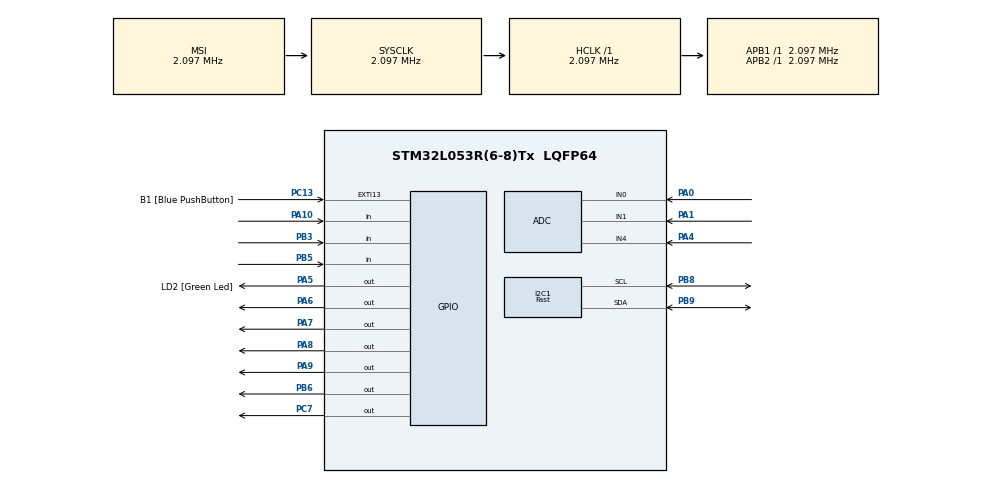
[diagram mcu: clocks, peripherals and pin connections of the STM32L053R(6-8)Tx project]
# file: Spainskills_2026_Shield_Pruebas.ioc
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I2C1.I2C_Speed_Mode=I2C_Fast
I2C1.Timing=0x00000000
Mcu.Family=STM32L0
Mcu.Name=STM32L053R(6-8)Tx
Mcu.Package=LQFP64
PA0.Mode=IN0
PA0.Signal=ADC_IN0
PA1.Mode=IN1
PA1.Signal=ADC_IN1
PA10.GPIO_PuPd=GPIO_PULLUP
PA10.Signal=GPIO_Input
PA13.GPIO_Label=TMS
PA13.Signal=SYS_SWDIO
PA14.GPIO_Label=TCK
PA14.Signal=SYS_SWCLK
PA2.GPIO_Label=USART_TX
PA2.Signal=USART2_TX
PA3.GPIO_Label=USART_RX
PA3.Signal=USART2_RX
PA4.Mode=IN4
PA4.Signal=ADC_IN4
PA5.GPIO_Label=LD2 [Green Led]
PA5.Signal=GPIO_Output
PA6.Signal=GPIO_Output
PA7.Signal=GPIO_Output
PA8.Signal=GPIO_Output
PA9.Signal=GPIO_Output
PB3.GPIO_PuPd=GPIO_PULLUP
PB3.Signal=GPIO_Input
PB5.GPIO_PuPd=GPIO_PULLUP
PB5.Signal=GPIO_Input
PB6.Signal=GPIO_Output
PB8.Mode=I2C
PB8.Signal=I2C1_SCL
PB9.Mode=I2C
PB9.Signal=I2C1_SDA
PC13.GPIO_Label=B1 [Blue PushButton]
PC13.GPIO_ModeDefaultEXTI=GPIO_MODE_IT_FALLING
PC13.Signal=GPXTI13
PC14-OSC32_IN.Signal=RCC_OSC32_IN
PC15-OSC32_OUT.Signal=RCC_OSC32_OUT
PC7.Signal=GPIO_Output
PH0-OSC_IN.Signal=RCC_OSC_IN
PH1-OSC_OUT.Signal=RCC_OSC_OUT
ProjectManager.HeapSize=0x200
ProjectManager.StackSize=0x400
ProjectManager.TargetToolchain=STM32CubeIDE
RCC.AHBFreq_Value=2097000
RCC.APB1Freq_Value=2097000
RCC.APB1TimFreq_Value=2097000
RCC.APB2Freq_Value=2097000
RCC.APB2TimFreq_Value=2097000
RCC.HSE_VALUE=8000000
RCC.HSI16_VALUE=16000000
RCC.HSI48_VALUE=48000000
RCC.HSI_VALUE=16000000
RCC.LSEState=RCC_LSE_ON
RCC.LSE_VALUE=32768
RCC.MSI_VALUE=2097000
RCC.SYSCLKFreq_VALUE=2097000
RCC.VCOOutputFreq_Value=48000000
board=NUCLEO-L053R8

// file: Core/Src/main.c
/* USER CODE BEGIN Header */
/**
  ******************************************************************************
  * @file           : main.c
  * @brief          : Main program body
  ******************************************************************************
  * @attention
  *
  * Copyright (c) 2026 STMicroelectronics.
  * All rights reserved.
  *
  * This software is licensed under terms that can be found in the LICENSE file
  * in the root directory of this software component.
  * If no LICENSE file comes with this software, it is provided AS-IS.
  *
  ******************************************************************************
  */
/* USER CODE END Header */
#include "main.h"

/* USER CODE BEGIN Includes */
#include "Drivers/LCD_i2c.h"
#include "Drivers/ssd1306.h"
/* USER CODE END Includes */

ADC_HandleTypeDef hadc;
I2C_HandleTypeDef hi2c1;

void SystemClock_Config(void);
static void MX_GPIO_Init(void);
static void MX_I2C1_Init(void);
static void MX_ADC_Init(void);

/* USER CODE BEGIN 0 */
void Select_ADC_Channel(uint32_t channel)
{
    ADC_ChannelConfTypeDef sConfig = {0};

    // 1. IMPORTANTE: Limpiar la selección de canales previa
    // Esto evita que se acumulen canales en el registro CHSELR
    hadc.Instance->CHSELR = 0;

    // 2. Configurar el nuevo canal
    sConfig.Channel = channel;
    sConfig.Rank = ADC_RANK_CHANNEL_NUMBER;

    if (HAL_ADC_ConfigChannel(&hadc, &sConfig) != HAL_OK)
    {
        Error_Handler();
    }
}
/* USER CODE END 0 */

int main(void)
{

  /* MCU Configuration--------------------------------------------------------*/

  /* Reset of all peripherals, Initializes the Flash interface and the Systick. */
  HAL_Init();

  /* Configure the system clock */
  SystemClock_Config();

  /* Initialize all configured peripherals */
  MX_GPIO_Init();
  MX_I2C1_Init();
  MX_ADC_Init();
  /* USER CODE BEGIN 2 */

  // --- INICIALIZAR BUZZER ---//
  HAL_GPIO_WritePin(GPIOA, GPIO_PIN_8, 1);

  //---- Display LCD - I2C ---//
  LCD_Init();
  LCD_Clear();
  LCD_Set_Cursor(0,0);
  LCD_Write_String("*Menu 1: Display");

  LCD_Set_Cursor(1,0);
  LCD_Write_String(" Menu 2: Blink LEDs");

  LCD_Set_Cursor(2,0);
  LCD_Write_String(" Menu 3: ADC");

  LCD_Set_Cursor(3,0);
  LCD_Write_String(" Menu 4: Buzzer");

  //---- OLED SSD1306 - I2C ---//
  SSD1306_Init (); // initialise the display

  // El ADC debe estar encendido pero detenido para calibrar
  if (HAL_ADCEx_Calibration_Start(&hadc, ADC_SINGLE_ENDED) != HAL_OK)
  {
      Error_Handler(); // Error de calibración
  }

  /* USER CODE END 2 */

  /* Infinite loop */
  /* USER CODE BEGIN WHILE */

  //--- BOTONES DE SERVICIO ---//

  uint8_t bot_B5_val_previo = SET; //Se pone a SET porque va con pull-up (lógica negada)
  uint8_t bot_B5_val;

  uint8_t bot_B3_val_previo = SET; //Se pone a SET porque va con pull-up (lógica negada)
  uint8_t bot_B3_val;

  uint8_t estado_actual_bot_central = 0;
  uint8_t estado_anterior_bot_central = 1;

  // Estados
  enum {menu_display, menu_leds, menu_adc, menu_buzzer, MENU_COUNT};
  int8_t estado=0; // tiene que tener signo para detectar num menores que cero

  while (1)
  {
    /* USER CODE END WHILE */

    /* USER CODE BEGIN 3 */
	// 1. Comprobamos botones
	  bot_B5_val = HAL_GPIO_ReadPin(GPIOB, GPIO_PIN_5);
	  if(bot_B5_val_previo == SET && bot_B5_val == RESET)
	  {
		  //Actualizamos el display LCD que marca el menu
		  LCD_Set_Cursor(estado,0);
		  LCD_Write_String(" ");

		  estado--;
		  if(estado < 0)
		  estado = 0;

		 // Siempre que cambio de estado limpio display OLED y pongo nuevo menu en estado LCD
		 SSD1306_Clear();
		 LCD_Set_Cursor(estado,0);
		 LCD_Write_String("*");
	 }
	 bot_B5_val_previo = bot_B5_val;

	 bot_B3_val = HAL_GPIO_ReadPin(GPIOB, GPIO_PIN_3);
	 	if(bot_B3_val_previo == SET && bot_B3_val == RESET){

	 		//Actualizamos el display LCD que marca el menu
	 		LCD_Set_Cursor(estado,0);
	 		LCD_Write_String(" ");

	 		estado++;
	 		if(estado > MENU_COUNT-1)
	 			estado = MENU_COUNT-1;

	 		// Siempre que cambio de estado limpio display OLED y pongo nuevo menu en estado LCD
	 		SSD1306_Clear();
	 		LCD_Set_Cursor(estado,0);
	 		LCD_Write_String("*");
	 	}
	 	bot_B3_val_previo = bot_B3_val;

	 switch(estado){

	 case menu_display:
		  int num = 123456;
		  float flt = 3.5;

		  int entero = (int)flt;
		  int decimal = (int)((flt - entero) * 100);
		  if (decimal < 0) decimal = -decimal;

		  char bufnum[7];
		  char bufflt[7];

		  sprintf (bufnum, "%d", num);
		  sprintf(bufflt, "%d.%02d", entero, decimal); // No está habiliatado el float...

		  SSD1306_GotoXY (10,0); // goto 10, 0
		  SSD1306_Puts ("Spainskills !!", &Font_11x18, 1);

		  SSD1306_GotoXY (10, 20); // va a columna 10 fila 30
		  SSD1306_Puts (bufnum, &Font_7x10, 1); // print num

		  SSD1306_GotoXY (10, 30); // va a columna 10 fila 30
		  SSD1306_Puts (bufflt, &Font_16x26, 1); // print num
		  SSD1306_UpdateScreen(); // update screen

		  //SSD1306_ScrollLeft(1,64);
	break;

	 case menu_leds:
		 HAL_Delay(250);
		 HAL_GPIO_WritePin(GPIOA, GPIO_PIN_5, 1);
		 HAL_GPIO_WritePin(GPIOA, GPIO_PIN_6, 0);
		 HAL_GPIO_WritePin(GPIOA, GPIO_PIN_7, SET);
		 HAL_GPIO_WritePin(GPIOA, GPIO_PIN_9, 1);
		 HAL_GPIO_WritePin(GPIOB, GPIO_PIN_6, 1);
		 HAL_GPIO_WritePin(GPIOC, GPIO_PIN_7, 1);

		 HAL_Delay(250);
		 HAL_GPIO_WritePin(GPIOA, GPIO_PIN_5, 0);
		 HAL_GPIO_WritePin(GPIOA, GPIO_PIN_6, 1);
		 HAL_GPIO_WritePin(GPIOA, GPIO_PIN_7, RESET);
		 HAL_GPIO_WritePin(GPIOA, GPIO_PIN_9, RESET);
		 HAL_GPIO_WritePin(GPIOB, GPIO_PIN_6, 0);
		 HAL_GPIO_WritePin(GPIOC, GPIO_PIN_7, 0);
		 HAL_Delay(500);
		 HAL_GPIO_WritePin(GPIOA, GPIO_PIN_6, 0);
	 break;

	 case menu_adc:
		 uint16_t valorPA0 = 0;
		 uint16_t valorPA1 = 0;
		 uint16_t valorPA4 = 0;

		 // --- Leer PA0 (Canal 0) ---
		 Select_ADC_Channel(ADC_CHANNEL_0);
		 HAL_ADC_Start(&hadc);
		 if (HAL_ADC_PollForConversion(&hadc, 10) == HAL_OK) {
		     valorPA0 = HAL_ADC_GetValue(&hadc);
		 }
		 HAL_ADC_Stop(&hadc);
		 HAL_Delay(20); // Pequeña pausa para estabilizar

		 // --- Leer PA1 (Canal 1) ---
		 Select_ADC_Channel(ADC_CHANNEL_1);
		 HAL_ADC_Start(&hadc);
		 if (HAL_ADC_PollForConversion(&hadc, 10) == HAL_OK) {
		     valorPA1 = HAL_ADC_GetValue(&hadc);
		 }
		 HAL_ADC_Stop(&hadc);
		 HAL_Delay(20); // Pequeña pausa para estabilizar

		 // --- Leer PA4 (Canal 4) ---
		 Select_ADC_Channel(ADC_CHANNEL_4);
		 HAL_ADC_Start(&hadc);
		 if (HAL_ADC_PollForConversion(&hadc, 10) == HAL_OK) {
		     valorPA4 = HAL_ADC_GetValue(&hadc);
		 }
		 HAL_ADC_Stop(&hadc);
		 HAL_Delay(20); // Pequeña pausa para estabilizar

		 // Ahora puedes usar valorPA0, valorPA1 y valorPA4...
		 char str_PA0[16];
		 char str_PA1[16];
		 char str_PA4[16];

		 memset(str_PA0, 0, 16);
		 memset(str_PA1, 0, 16);
		 memset(str_PA4, 0, 16);

		 uint32_t mV = (uint32_t)valorPA0 * 3300 / 4095;
		 sprintf(str_PA0, "POT = %lu.%02lu V", mV/1000, (mV%1000)/10);

		 sprintf (str_PA1, "LDR = %d", valorPA1);

		 uint32_t mV_temp = (uint32_t)valorPA4 * 3300 / 4095;
		 mV_temp = mV_temp - 200; //Corrección por tmp36
		 uint32_t temperatura = mV_temp / 10.0;  // LM35 = 10mV por °C
		 sprintf(str_PA4, "TEMP = %d C", temperatura);

		 SSD1306_GotoXY (10,0); // goto 10, 0
		 SSD1306_Puts ("ADC !!", &Font_11x18, 1);

		 SSD1306_GotoXY (10, 20); // va a columna 10 fila 30
		 SSD1306_Puts ("               ", &Font_7x10, 1); // Borro antes de escribir
		 SSD1306_GotoXY (10, 20); // va a columna 10 fila 30
		 SSD1306_Puts (str_PA0, &Font_7x10, 1); // print num

		 SSD1306_GotoXY (10, 30); // va a columna 10 fila 30
		 SSD1306_Puts ("               ", &Font_7x10, 1); // Borro antes de escribir
		 SSD1306_GotoXY (10, 30); // va a columna 10 fila 30
		 SSD1306_Puts (str_PA1, &Font_7x10, 1); // print num

		 SSD1306_GotoXY (10, 40); // va a columna 10 fila 30
		 SSD1306_Puts ("               ", &Font_7x10, 1); // Borro antes de escribir
		 SSD1306_GotoXY (10, 40); // va a columna 10 fila 30
		 SSD1306_Puts (str_PA4, &Font_7x10, 1); // print num

		 SSD1306_UpdateScreen(); // update screen

	 break;

	 case menu_buzzer:
		 HAL_GPIO_WritePin(GPIOA, GPIO_PIN_8,HAL_GPIO_ReadPin(GPIOA, GPIO_PIN_10));
	 break;

	 default:
		 ;;
	 break;

	  }

	}
  /* USER CODE END 3 */
}

void SystemClock_Config(void)
{
  RCC_OscInitTypeDef RCC_OscInitStruct = {0};
  RCC_ClkInitTypeDef RCC_ClkInitStruct = {0};
  RCC_PeriphCLKInitTypeDef PeriphClkInit = {0};

  /** Configure the main internal regulator output voltage
  */
  __HAL_PWR_VOLTAGESCALING_CONFIG(PWR_REGULATOR_VOLTAGE_SCALE1);

  /** Initializes the RCC Oscillators according to the specified parameters
  * in the RCC_OscInitTypeDef structure.
  */
  RCC_OscInitStruct.OscillatorType = RCC_OSCILLATORTYPE_MSI;
  RCC_OscInitStruct.MSIState = RCC_MSI_ON;
  RCC_OscInitStruct.MSICalibrationValue = 0;
  RCC_OscInitStruct.MSIClockRange = RCC_MSIRANGE_5;
  RCC_OscInitStruct.PLL.PLLState = RCC_PLL_NONE;
  if (HAL_RCC_OscConfig(&RCC_OscInitStruct) != HAL_OK)
  {
    Error_Handler();
  }

  /** Initializes the CPU, AHB and APB buses clocks
  */
  RCC_ClkInitStruct.ClockType = RCC_CLOCKTYPE_HCLK|RCC_CLOCKTYPE_SYSCLK
                              |RCC_CLOCKTYPE_PCLK1|RCC_CLOCKTYPE_PCLK2;
  RCC_ClkInitStruct.SYSCLKSource = RCC_SYSCLKSOURCE_MSI;
  RCC_ClkInitStruct.AHBCLKDivider = RCC_SYSCLK_DIV1;
  RCC_ClkInitStruct.APB1CLKDivider = RCC_HCLK_DIV1;
  RCC_ClkInitStruct.APB2CLKDivider = RCC_HCLK_DIV1;

  if (HAL_RCC_ClockConfig(&RCC_ClkInitStruct, FLASH_LATENCY_0) != HAL_OK)
  {
    Error_Handler();
  }
  PeriphClkInit.PeriphClockSelection = RCC_PERIPHCLK_I2C1;
  PeriphClkInit.I2c1ClockSelection = RCC_I2C1CLKSOURCE_PCLK1;
  if (HAL_RCCEx_PeriphCLKConfig(&PeriphClkInit) != HAL_OK)
  {
    Error_Handler();
  }
}

static void MX_ADC_Init(void)
{

  ADC_ChannelConfTypeDef sConfig = {0};

  /** Configure the global features of the ADC (Clock, Resolution, Data Alignment and number of conversion)
  */
  hadc.Instance = ADC1;
  hadc.Init.OversamplingMode = DISABLE;
  hadc.Init.ClockPrescaler = ADC_CLOCK_SYNC_PCLK_DIV1;
  hadc.Init.Resolution = ADC_RESOLUTION_12B;
  hadc.Init.SamplingTime = ADC_SAMPLETIME_1CYCLE_5;
  hadc.Init.ScanConvMode = ADC_SCAN_DIRECTION_FORWARD;
  hadc.Init.DataAlign = ADC_DATAALIGN_RIGHT;
  hadc.Init.ContinuousConvMode = DISABLE;
  hadc.Init.DiscontinuousConvMode = DISABLE;
  hadc.Init.ExternalTrigConvEdge = ADC_EXTERNALTRIGCONVEDGE_NONE;
  hadc.Init.ExternalTrigConv = ADC_SOFTWARE_START;
  hadc.Init.DMAContinuousRequests = DISABLE;
  hadc.Init.EOCSelection = ADC_EOC_SINGLE_CONV;
  hadc.Init.Overrun = ADC_OVR_DATA_PRESERVED;
  hadc.Init.LowPowerAutoWait = DISABLE;
  hadc.Init.LowPowerFrequencyMode = ENABLE;
  hadc.Init.LowPowerAutoPowerOff = DISABLE;
  if (HAL_ADC_Init(&hadc) != HAL_OK)
  {
    Error_Handler();
  }

  /** Configure for the selected ADC regular channel to be converted.
  */
  sConfig.Channel = ADC_CHANNEL_0;
  sConfig.Rank = ADC_RANK_CHANNEL_NUMBER;
  if (HAL_ADC_ConfigChannel(&hadc, &sConfig) != HAL_OK)
  {
    Error_Handler();
  }

  /** Configure for the selected ADC regular channel to be converted.
  */
  sConfig.Channel = ADC_CHANNEL_1;
  if (HAL_ADC_ConfigChannel(&hadc, &sConfig) != HAL_OK)
  {
    Error_Handler();
  }

  /** Configure for the selected ADC regular channel to be converted.
  */
  sConfig.Channel = ADC_CHANNEL_4;
  if (HAL_ADC_ConfigChannel(&hadc, &sConfig) != HAL_OK)
  {
    Error_Handler();
  }

}

static void MX_I2C1_Init(void)
{

  hi2c1.Instance = I2C1;
  hi2c1.Init.Timing = 0x00000000;
  hi2c1.Init.OwnAddress1 = 0;
  hi2c1.Init.AddressingMode = I2C_ADDRESSINGMODE_7BIT;
  hi2c1.Init.DualAddressMode = I2C_DUALADDRESS_DISABLE;
  hi2c1.Init.OwnAddress2 = 0;
  hi2c1.Init.OwnAddress2Masks = I2C_OA2_NOMASK;
  hi2c1.Init.GeneralCallMode = I2C_GENERALCALL_DISABLE;
  hi2c1.Init.NoStretchMode = I2C_NOSTRETCH_DISABLE;
  if (HAL_I2C_Init(&hi2c1) != HAL_OK)
  {
    Error_Handler();
  }

  /** Configure Analogue filter
  */
  if (HAL_I2CEx_ConfigAnalogFilter(&hi2c1, I2C_ANALOGFILTER_ENABLE) != HAL_OK)
  {
    Error_Handler();
  }

  /** Configure Digital filter
  */
  if (HAL_I2CEx_ConfigDigitalFilter(&hi2c1, 0) != HAL_OK)
  {
    Error_Handler();
  }

}

static void MX_GPIO_Init(void)
{
  GPIO_InitTypeDef GPIO_InitStruct = {0};

  /* GPIO Ports Clock Enable */
  __HAL_RCC_GPIOC_CLK_ENABLE();
  __HAL_RCC_GPIOH_CLK_ENABLE();
  __HAL_RCC_GPIOA_CLK_ENABLE();
  __HAL_RCC_GPIOB_CLK_ENABLE();

  /*Configure GPIO pin Output Level */
  HAL_GPIO_WritePin(GPIOA, LD2_Pin|GPIO_PIN_6|GPIO_PIN_7|GPIO_PIN_8
                          |GPIO_PIN_9, GPIO_PIN_RESET);

  /*Configure GPIO pin Output Level */
  HAL_GPIO_WritePin(GPIOC, GPIO_PIN_7, GPIO_PIN_RESET);

  /*Configure GPIO pin Output Level */
  HAL_GPIO_WritePin(GPIOB, GPIO_PIN_6, GPIO_PIN_RESET);

  /*Configure GPIO pin : B1_Pin */
  GPIO_InitStruct.Pin = B1_Pin;
  GPIO_InitStruct.Mode = GPIO_MODE_IT_FALLING;
  GPIO_InitStruct.Pull = GPIO_NOPULL;
  HAL_GPIO_Init(B1_GPIO_Port, &GPIO_InitStruct);

  /*Configure GPIO pins : USART_TX_Pin USART_RX_Pin */
  GPIO_InitStruct.Pin = USART_TX_Pin|USART_RX_Pin;
  GPIO_InitStruct.Mode = GPIO_MODE_AF_PP;
  GPIO_InitStruct.Pull = GPIO_NOPULL;
  GPIO_InitStruct.Speed = GPIO_SPEED_FREQ_VERY_HIGH;
  GPIO_InitStruct.Alternate = GPIO_AF4_USART2;
  HAL_GPIO_Init(GPIOA, &GPIO_InitStruct);

  /*Configure GPIO pins : LD2_Pin PA6 PA7 PA8
                           PA9 */
  GPIO_InitStruct.Pin = LD2_Pin|GPIO_PIN_6|GPIO_PIN_7|GPIO_PIN_8
                          |GPIO_PIN_9;
  GPIO_InitStruct.Mode = GPIO_MODE_OUTPUT_PP;
  GPIO_InitStruct.Pull = GPIO_NOPULL;
  GPIO_InitStruct.Speed = GPIO_SPEED_FREQ_LOW;
  HAL_GPIO_Init(GPIOA, &GPIO_InitStruct);

  /*Configure GPIO pin : PC7 */
  GPIO_InitStruct.Pin = GPIO_PIN_7;
  GPIO_InitStruct.Mode = GPIO_MODE_OUTPUT_PP;
  GPIO_InitStruct.Pull = GPIO_NOPULL;
  GPIO_InitStruct.Speed = GPIO_SPEED_FREQ_LOW;
  HAL_GPIO_Init(GPIOC, &GPIO_InitStruct);

  /*Configure GPIO pin : PA10 */
  GPIO_InitStruct.Pin = GPIO_PIN_10;
  GPIO_InitStruct.Mode = GPIO_MODE_INPUT;
  GPIO_InitStruct.Pull = GPIO_PULLUP;
  HAL_GPIO_Init(GPIOA, &GPIO_InitStruct);

  /*Configure GPIO pins : PB3 PB5 */
  GPIO_InitStruct.Pin = GPIO_PIN_3|GPIO_PIN_5;
  GPIO_InitStruct.Mode = GPIO_MODE_INPUT;
  GPIO_InitStruct.Pull = GPIO_PULLUP;
  HAL_GPIO_Init(GPIOB, &GPIO_InitStruct);

  /*Configure GPIO pin : PB6 */
  GPIO_InitStruct.Pin = GPIO_PIN_6;
  GPIO_InitStruct.Mode = GPIO_MODE_OUTPUT_PP;
  GPIO_InitStruct.Pull = GPIO_NOPULL;
  GPIO_InitStruct.Speed = GPIO_SPEED_FREQ_LOW;
  HAL_GPIO_Init(GPIOB, &GPIO_InitStruct);

}

void Error_Handler(void)
{
  __disable_irq();
  while (1)
  {
  }
}
